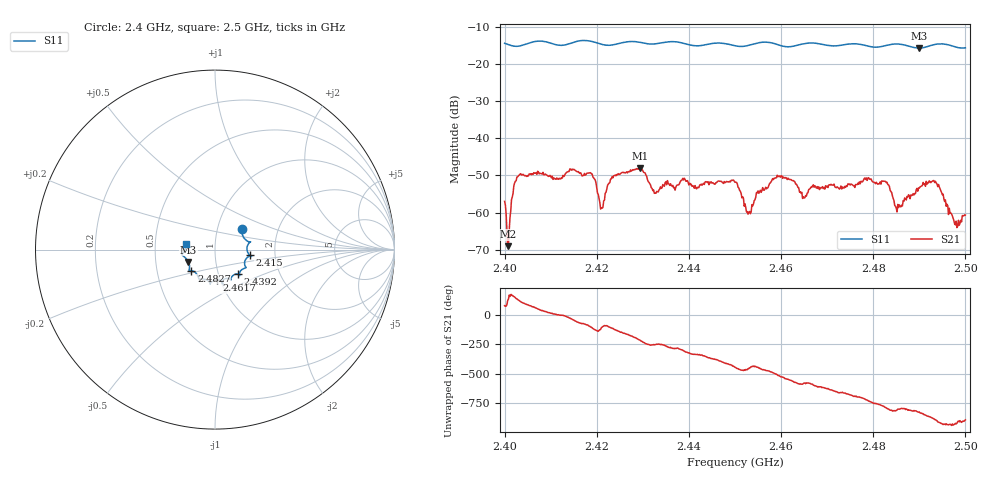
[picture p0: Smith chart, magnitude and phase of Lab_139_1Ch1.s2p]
# Hz S RI R 50
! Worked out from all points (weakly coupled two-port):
!   601 points, 2.4 GHz to 2.5 GHz, reference 50 ohm
!   highest |S21| = -47.96 dB at 2.4293 GHz (marker M1); lowest = -69.0 dB at 2.4007 GHz (marker M2)
!   lowest |S11| = -15.7 dB at 2.49 GHz (marker M3), VSWR 1.39, Z = 36.8 - j5.24 ohm
!   |S11| at or under -10 dB: start of sweep to end of sweep
!   S12 and S22 are empty: the file has one direction only
!   S11 on the Smith chart (normalised r, x): 2.4 GHz: 1.31, +0.31; 2.415 GHz: 1.47, -0.10; 2.4392 GHz: 1.24, -0.35; 2.4617 GHz: 0.96, -0.34; 2.4827 GHz: 0.75, -0.18; 2.5 GHz: 0.72, +0.05
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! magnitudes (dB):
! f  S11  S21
! 2.4 GHz  -14.4  -57.0
! 2.4007 GHz  -14.7  -69.0
! 2.4032 GHz  -15.2  -49.9
! 2.415 GHz  -14.2  -48.3
! 2.4167 GHz  -13.7  -49.7
! 2.4192 GHz  -14.0  -50.4
! 2.4212 GHz  -14.7  -58.8
! 2.4235 GHz  -14.9  -50.6
! 2.4293 GHz  -14.2  -48.0
! 2.4333 GHz  -14.5  -54.4
! 2.4392 GHz  -14.6  -51.1
! 2.45 GHz  -15.1  -51.8
! 2.453 GHz  -15.0  -59.8
! 2.4617 GHz  -15.4  -51.0
! 2.4667 GHz  -14.3  -53.2
! 2.4827 GHz  -15.1  -51.6
! 2.4833 GHz  -14.9  -52.6
! 2.4855 GHz  -14.6  -58.6
! 2.49 GHz  -15.7  -53.4
! 2.4933 GHz  -14.8  -51.9
! 2.4978 GHz  -15.4  -63.3
! 2.5 GHz  -15.6  -60.7
